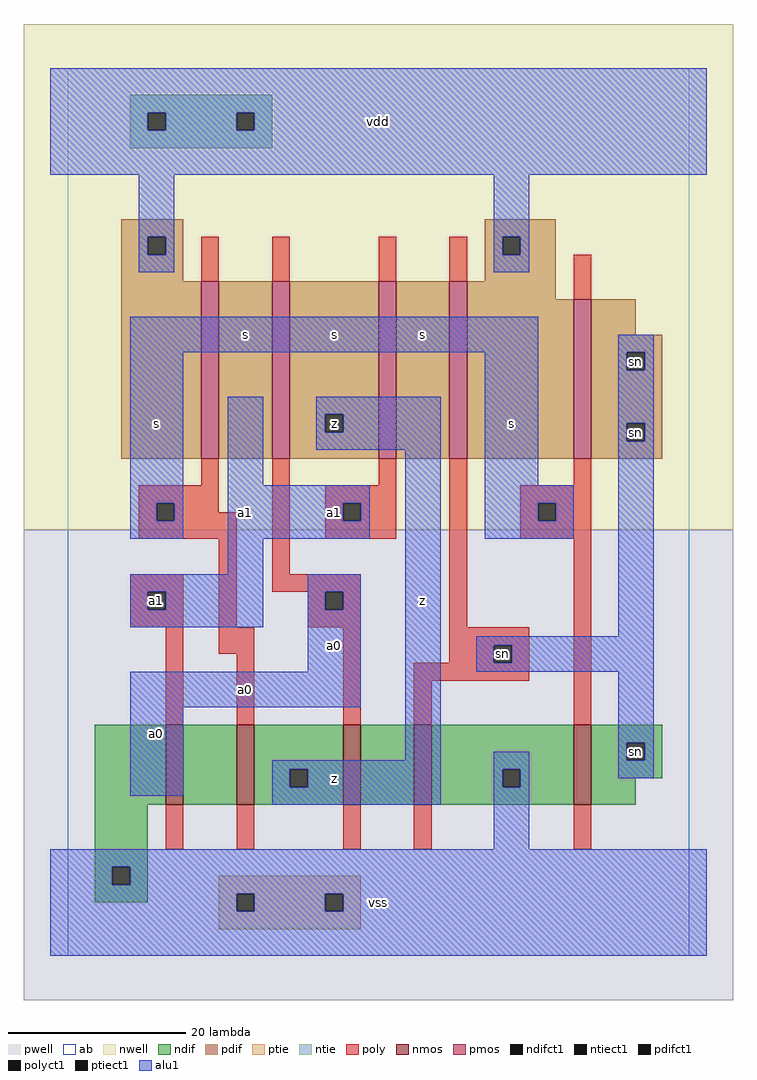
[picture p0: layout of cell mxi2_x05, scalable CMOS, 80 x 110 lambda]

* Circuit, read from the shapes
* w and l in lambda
.subckt mxi2_x05 a0 a1 s sn vdd vss z
M1 n1 a1 vss vss nfet w=9 l=2
M2 z s n1 vss nfet w=9 l=2
M3 n2 a0 z vss nfet w=9 l=2
M4 vss sn n2 vss nfet w=9 l=2
M5 sn s vss vss nfet w=9 l=2
M6 n3 s vdd vdd pfet w=20 l=2
M7 z a0 n3 vdd pfet w=20 l=2
M8 n4 a1 z vdd pfet w=20 l=2
M9 vdd sn n4 vdd pfet w=20 l=2
M10 sn s vdd vdd pfet w=18 l=2
.ends

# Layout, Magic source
magic
tech scmos
<< ab >>
rect 0 0 70 100
<< nwell >>
rect -5 48 75 105
<< pwell >>
rect -5 -5 75 48
<< poly >>
rect 15 76 17 81
rect 23 76 25 81
rect 35 76 37 81
rect 43 76 45 81
rect 57 74 59 79
rect 15 53 17 56
rect 8 51 17 53
rect 8 49 10 51
rect 12 50 17 51
rect 12 49 19 50
rect 8 47 19 49
rect 7 41 13 43
rect 7 39 9 41
rect 11 39 13 41
rect 7 37 13 39
rect 11 26 13 37
rect 17 37 19 47
rect 23 43 25 56
rect 35 53 37 56
rect 29 51 37 53
rect 29 49 31 51
rect 33 49 37 51
rect 29 47 37 49
rect 23 41 33 43
rect 27 39 29 41
rect 31 39 33 41
rect 27 37 33 39
rect 17 34 21 37
rect 19 26 21 34
rect 31 26 33 37
rect 43 37 45 56
rect 57 53 59 56
rect 51 51 59 53
rect 51 49 53 51
rect 55 49 59 51
rect 51 47 59 49
rect 43 35 52 37
rect 43 33 48 35
rect 50 33 52 35
rect 39 31 52 33
rect 39 26 41 31
rect 57 26 59 47
rect 11 12 13 17
rect 19 12 21 17
rect 31 12 33 17
rect 39 12 41 17
rect 57 12 59 17
<< ndif >>
rect 3 17 11 26
rect 13 17 19 26
rect 21 21 31 26
rect 21 19 25 21
rect 27 19 31 21
rect 21 17 31 19
rect 33 17 39 26
rect 41 21 57 26
rect 41 19 49 21
rect 51 19 57 21
rect 41 17 57 19
rect 59 24 67 26
rect 59 22 63 24
rect 65 22 67 24
rect 59 20 67 22
rect 59 17 64 20
rect 3 10 9 17
rect 3 8 5 10
rect 7 8 9 10
rect 3 6 9 8
<< pdif >>
rect 6 81 13 83
rect 47 81 55 83
rect 6 79 9 81
rect 11 79 13 81
rect 6 76 13 79
rect 47 79 49 81
rect 51 79 55 81
rect 47 76 55 79
rect 6 56 15 76
rect 17 56 23 76
rect 25 61 35 76
rect 25 59 29 61
rect 31 59 35 61
rect 25 56 35 59
rect 37 56 43 76
rect 45 74 55 76
rect 45 56 57 74
rect 59 70 64 74
rect 59 68 67 70
rect 59 66 63 68
rect 65 66 67 68
rect 59 60 67 66
rect 59 58 63 60
rect 65 58 67 60
rect 59 56 67 58
<< alu1 >>
rect -2 95 72 100
rect -2 93 9 95
rect 11 93 19 95
rect 21 93 72 95
rect -2 88 72 93
rect 8 81 12 88
rect 8 79 9 81
rect 11 79 12 81
rect 8 77 12 79
rect 48 81 52 88
rect 48 79 49 81
rect 51 79 52 81
rect 48 77 52 79
rect 7 68 53 72
rect 7 51 13 68
rect 7 49 10 51
rect 12 49 13 51
rect 7 47 13 49
rect 18 53 22 63
rect 28 61 42 63
rect 28 59 29 61
rect 31 59 42 61
rect 28 57 42 59
rect 18 51 34 53
rect 18 49 31 51
rect 33 49 34 51
rect 18 47 34 49
rect 18 43 22 47
rect 7 41 22 43
rect 7 39 9 41
rect 11 39 22 41
rect 7 37 22 39
rect 27 41 33 43
rect 27 39 29 41
rect 31 39 33 41
rect 27 32 33 39
rect 7 28 33 32
rect 7 18 13 28
rect 38 22 42 57
rect 47 53 53 68
rect 62 68 66 70
rect 62 66 63 68
rect 65 66 66 68
rect 62 60 66 66
rect 62 58 63 60
rect 65 58 66 60
rect 47 51 57 53
rect 47 49 53 51
rect 55 49 57 51
rect 47 47 57 49
rect 62 36 66 58
rect 46 35 66 36
rect 46 33 48 35
rect 50 33 66 35
rect 46 32 66 33
rect 62 24 66 32
rect 23 21 42 22
rect 23 19 25 21
rect 27 19 42 21
rect 23 17 42 19
rect 48 21 52 23
rect 48 19 49 21
rect 51 19 52 21
rect 62 22 63 24
rect 65 22 66 24
rect 62 20 66 22
rect 48 12 52 19
rect -2 10 72 12
rect -2 8 5 10
rect 7 8 72 10
rect -2 7 72 8
rect -2 5 19 7
rect 21 5 29 7
rect 31 5 72 7
rect -2 0 72 5
<< ptie >>
rect 17 7 33 9
rect 17 5 19 7
rect 21 5 29 7
rect 31 5 33 7
rect 17 3 33 5
<< ntie >>
rect 7 95 23 97
rect 7 93 9 95
rect 11 93 19 95
rect 21 93 23 95
rect 7 91 23 93
<< nmos >>
rect 11 17 13 26
rect 19 17 21 26
rect 31 17 33 26
rect 39 17 41 26
rect 57 17 59 26
<< pmos >>
rect 15 56 17 76
rect 23 56 25 76
rect 35 56 37 76
rect 43 56 45 76
rect 57 56 59 74
<< polyct1 >>
rect 10 49 12 51
rect 9 39 11 41
rect 31 49 33 51
rect 29 39 31 41
rect 53 49 55 51
rect 48 33 50 35
<< ndifct1 >>
rect 25 19 27 21
rect 49 19 51 21
rect 63 22 65 24
rect 5 8 7 10
<< ntiect1 >>
rect 9 93 11 95
rect 19 93 21 95
<< ptiect1 >>
rect 19 5 21 7
rect 29 5 31 7
<< pdifct1 >>
rect 9 79 11 81
rect 49 79 51 81
rect 29 59 31 61
rect 63 66 65 68
rect 63 58 65 60
<< labels >>
rlabel ndifct1 64 23 64 23 6 sn
rlabel polyct1 49 34 49 34 6 sn
rlabel pdifct1 64 59 64 59 6 sn
rlabel pdifct1 64 67 64 67 6 sn
rlabel alu1 10 25 10 25 6 a0
rlabel polyct1 10 40 10 40 6 a1
rlabel alu1 10 60 10 60 6 s
rlabel alu1 30 20 30 20 6 z
rlabel alu1 20 30 20 30 6 a0
rlabel alu1 30 35 30 35 6 a0
rlabel alu1 30 50 30 50 6 a1
rlabel alu1 20 50 20 50 6 a1
rlabel alu1 20 70 20 70 6 s
rlabel alu1 30 70 30 70 6 s
rlabel pdifct1 30 60 30 60 6 z
rlabel alu1 35 6 35 6 6 vss
rlabel alu1 40 40 40 40 6 z
rlabel alu1 40 70 40 70 6 s
rlabel alu1 50 60 50 60 6 s
rlabel alu1 35 94 35 94 6 vdd
<< end >>
